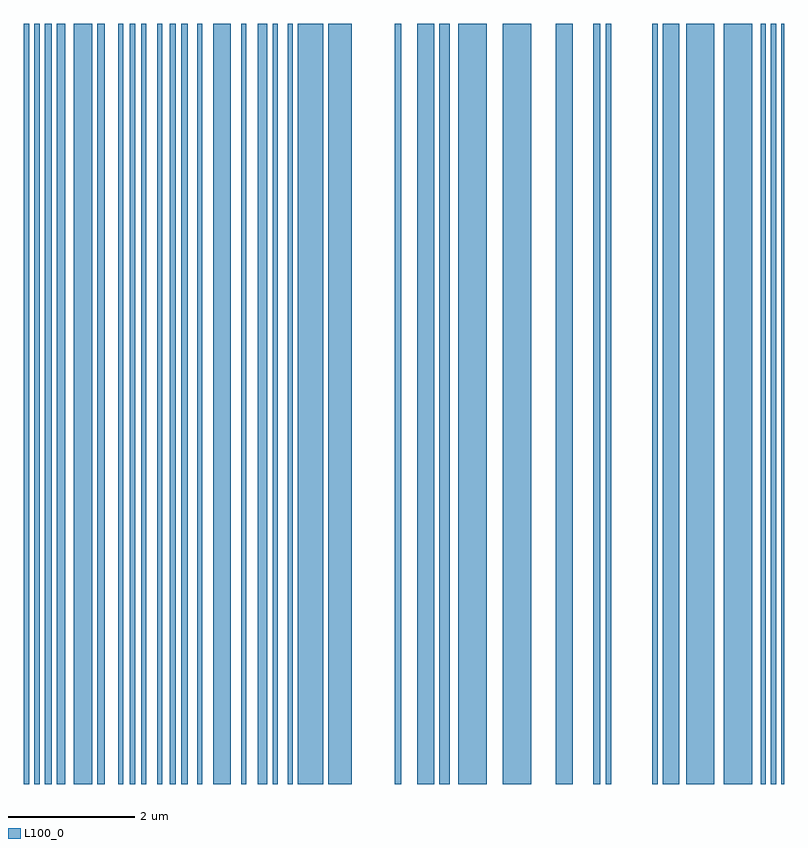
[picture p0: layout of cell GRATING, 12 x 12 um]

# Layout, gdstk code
import gdstk
lib = gdstk.Library(unit=1e-6, precision=1e-09)
def R(c, l, rs):  # rectangles x0, y0, x1, y1
    for r in rs: c.add(gdstk.rectangle(r[:2], r[2:], *l))
L100_0 = (100, 0)

grating = lib.new_cell('GRATING')
R(grating, L100_0, [(0,-6,0.08,6), (0.16,-6,0.25,6), (0.33,-6,0.439,6), (0.519,-6,0.655,6), (0.782,-6,1.08,6), (1.16,-6,1.275,6), (1.486,-6,1.571,6), (1.672,-6,1.753,6), (1.849,-6,1.929,6), (2.102,-6,2.182,6), (2.302,-6,2.397,6), (2.479,-6,2.589,6), (2.736,-6,2.816,6), (2.987,-6,3.268,6), (3.433,-6,3.513,6), (3.69,-6,3.838,6), (3.924,-6,4.004,6), (4.165,-6,4.245,6), (4.325,-6,4.724,6), (4.804,-6,5.174,6), (5.851,-6,5.954,6), (6.21,-6,6.475,6), (6.559,-6,6.72,6), (6.854,-6,7.309,6), (7.56,-6,8.009,6), (8.393,-6,8.668,6), (8.989,-6,9.099,6), (9.188,-6,9.272,6), (9.923,-6,10.003,6), (10.083,-6,10.345,6), (10.455,-6,10.897,6), (11.047,-6,11.497,6), (11.63,-6,11.71,6), (11.79,-6,11.88,6), (11.96,-6,12,6)])

lib.write_gds('GRATING.gds')
